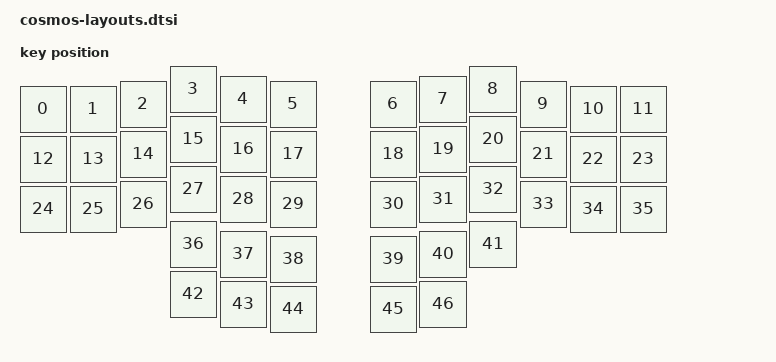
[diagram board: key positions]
#include <physical_layouts.dtsi>

/ {
    physical_layout0: physical_layout_0 {
        compatible = "zmk,physical-layout";
        display-name = "default";

        kscan = <&kscan0>;
        transform = <&default_transform>;

        keys  //                     w   h    x    y     rot    rx    ry
            = <&key_physical_attrs 100 100    0   40       0     0     0>
            , <&key_physical_attrs 100 100  100   40       0     0     0>
            , <&key_physical_attrs 100 100  200   30       0     0     0>
            , <&key_physical_attrs 100 100  300    0       0     0     0>
            , <&key_physical_attrs 100 100  400   20       0     0     0>
            , <&key_physical_attrs 100 100  500   30       0     0     0>
            , <&key_physical_attrs 100 100  700   30       0     0     0>
            , <&key_physical_attrs 100 100  800   20       0     0     0>
            , <&key_physical_attrs 100 100  900    0       0     0     0>
            , <&key_physical_attrs 100 100 1000   30       0     0     0>
            , <&key_physical_attrs 100 100 1100   40       0     0     0>
            , <&key_physical_attrs 100 100 1200   40       0     0     0>
            , <&key_physical_attrs 100 100    0  140       0     0     0>
            , <&key_physical_attrs 100 100  100  140       0     0     0>
            , <&key_physical_attrs 100 100  200  130       0     0     0>
            , <&key_physical_attrs 100 100  300  100       0     0     0>
            , <&key_physical_attrs 100 100  400  120       0     0     0>
            , <&key_physical_attrs 100 100  500  130       0     0     0>
            , <&key_physical_attrs 100 100  700  130       0     0     0>
            , <&key_physical_attrs 100 100  800  120       0     0     0>
            , <&key_physical_attrs 100 100  900  100       0     0     0>
            , <&key_physical_attrs 100 100 1000  130       0     0     0>
            , <&key_physical_attrs 100 100 1100  140       0     0     0>
            , <&key_physical_attrs 100 100 1200  140       0     0     0>
            , <&key_physical_attrs 100 100    0  240       0     0     0>
            , <&key_physical_attrs 100 100  100  240       0     0     0>
            , <&key_physical_attrs 100 100  200  230       0     0     0>
            , <&key_physical_attrs 100 100  300  200       0     0     0>
            , <&key_physical_attrs 100 100  400  220       0     0     0>
            , <&key_physical_attrs 100 100  500  230       0     0     0>
            , <&key_physical_attrs 100 100  700  230       0     0     0>
            , <&key_physical_attrs 100 100  800  220       0     0     0>
            , <&key_physical_attrs 100 100  900  200       0     0     0>
            , <&key_physical_attrs 100 100 1000  230       0     0     0>
            , <&key_physical_attrs 100 100 1100  240       0     0     0>
            , <&key_physical_attrs 100 100 1200  240       0     0     0>
            , <&key_physical_attrs 100 100  300  310       0     0     0>
            , <&key_physical_attrs 100 100  400  330       0     0     0>
            , <&key_physical_attrs 100 100  500  340       0     0     0>
            , <&key_physical_attrs 100 100  700  340       0     0     0>
            , <&key_physical_attrs 100 100  800  330       0     0     0>
            , <&key_physical_attrs 100 100  900  310       0     0     0>
            , <&key_physical_attrs 100 100  300  410       0     0     0>
            , <&key_physical_attrs 100 100  400  430       0     0     0>
            , <&key_physical_attrs 100 100  500  440       0     0     0>
            , <&key_physical_attrs 100 100  700  440       0     0     0>
            , <&key_physical_attrs 100 100  800  430       0     0     0>
            ;
    };
};
